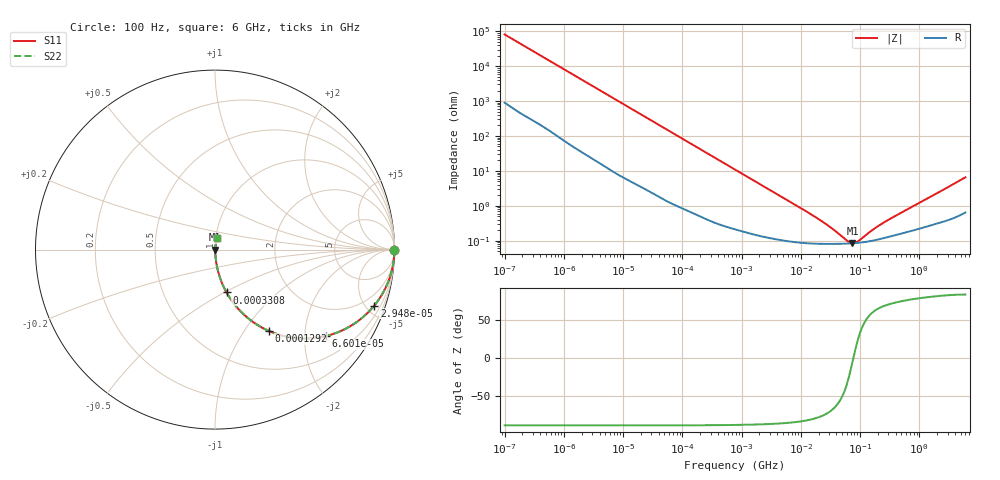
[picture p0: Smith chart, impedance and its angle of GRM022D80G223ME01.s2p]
!Murata Part Number: GRM022D80G223ME01
!These Parameters are Measured in Series Mode Connection
!Data Generated on Mar 30, 2021
!  o--ll--o
!Port1  Port2
!  o------o
!Operation Temp=25[degC], DC Bias Voltage=0[V]
!Freq. Start=100[Hz] Stop=6[GHz] 401[Steps]
# Hz S RI R 50
!Freq.(Hz) S11(Real) S11(Imag) S21(Real) S21(Imag) S12(Real) S12(Imag) S22(Real) S22(Imag)
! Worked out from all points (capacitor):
!   401 points, 100 Hz to 6 GHz, reference 50 ohm
!   read as one part in series: C = 19.6 nF near 109 Hz
!   lowest |Z| = 84.9 mohm at 74.56 MHz (marker M1)
!   series resonance near 77.11 MHz, so ESL is about 220 pH
!   S11 on the Smith chart (normalised r, x): 100 Hz: open; 29.48 kHz: 1.05, -5.66; 66 kHz: 1.02, -2.54; 129.2 kHz: 1.01, -1.30; 330.8 kHz: 1.01, -0.51; 6 GHz: 1.01, +0.13
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100  1 -0.00124  1.53e-05 0.00124  1.53e-05 0.00124  1 -0.00124
2008  0.9992 -0.0244  0.000799 0.0244  0.000799 0.0244  0.9992 -0.0244
9204  0.987 -0.1094  0.013 0.1094  0.013 0.1094  0.987 -0.1094
18016  0.9537 -0.2061  0.0463 0.2061  0.0463 0.2061  0.9537 -0.2061
29482  0.8869 -0.3124  0.1131 0.3124  0.1131 0.3124  0.8869 -0.3124
40335  0.809 -0.3888  0.191 0.3888  0.191 0.3888  0.809 -0.3888
66005  0.616 -0.4818  0.384 0.4818  0.384 0.4818  0.616 -0.4818
90302  0.4637 -0.4938  0.5363 0.4938  0.5363 0.4938  0.4637 -0.4938
129199  0.2995 -0.4527  0.7005 0.4527  0.7005 0.4527  0.2995 -0.4527
202169  0.1511 -0.3523  0.8489 0.3523  0.8489 0.3523  0.1511 -0.3523
330837  0.0641 -0.2384  0.9359 0.2384  0.9359 0.2384  0.0641 -0.2384
774597  0.0139 -0.108  0.9861 0.108  0.9861 0.108  0.0139 -0.108
2481164  0.00246 -0.0345  0.9975 0.0345  0.9975 0.0345  0.00246 -0.0345
1.555665e7  0.000858 -0.00538  0.9991 0.00538  0.9991 0.00538  0.000858 -0.00538
3.184506e7  0.000814 -0.00227  0.9992 0.00227  0.9992 0.00227  0.000814 -0.00227
5.960426e7  0.000827 -0.000585  0.9992 0.000585  0.9992 0.000585  0.000827 -0.000585
7.455971e7  0.000845 -7.5e-05  0.9992 7.5e-05  0.9992 7.5e-05  0.000845 -7.5e-05
9.326766e7  0.000872 0.000427  0.9991 -0.000427  0.9991 -0.000427  0.000872 0.000427
1.745687e8  0.00103 0.00197  0.999 -0.00197  0.999 -0.00197  0.00103 0.00197
3.124326e8  0.00132 0.0039  0.9987 -0.0039  0.9987 -0.0039  0.00132 0.0039
1.873145e9  0.00345 0.0213  0.9965 -0.0213  0.9965 -0.0213  0.00345 0.0213
6e9  0.0106 0.0641  0.9894 -0.0641  0.9894 -0.0641  0.0106 0.0641
